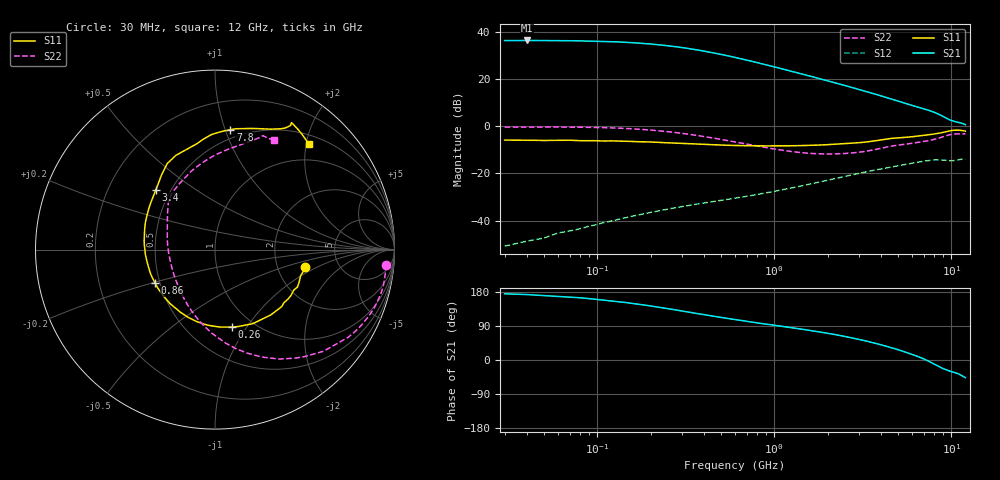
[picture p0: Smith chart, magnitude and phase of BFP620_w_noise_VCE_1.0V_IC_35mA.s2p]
! Infineon Technologies  Discrete & RF Semiconductors
! BFP620
! VCE =  1.0 V,  IC =  35 mA
! Common Emitter S-Parameters:  Nov 2015
# GHz  S  MA  R  50
!  f  S11  S21  S12  S22
! GHz  MAG  ANG  MAG  ANG  MAG  ANG  MAG  ANG
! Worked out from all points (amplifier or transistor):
!   239 points, 30 MHz to 12 GHz, reference 50 ohm
!   highest |S21| = 36.2 dB at 40 MHz (marker M1)
!   |S21| within 3 dB of that: start of sweep to 300.9 MHz
!   unconditionally stable (mu >= 1): 2.317 GHz to end of sweep
!   at 300 MHz: K = 0.39, MSG = 33.6 dB, |S12| = -34.0 dB
!   at 1.88 GHz: K = 0.97, MSG = 21.5 dB, |S12| = -23.3 dB
!   at 12 GHz: K = 1.08, MAG = 5.6 dB, |S12| = -14.0 dB
!   lowest NFmin = 1.24 dB at 450 MHz
!   S11 on the Smith chart (normalised r, x): 30 MHz: 2.86, -0.73; 260 MHz: 0.80, -0.86; 860 MHz: 0.47, -0.21; 3.4 GHz: 0.42, +0.36; 7.8 GHz: 0.43, +1.04; 12 GHz: 0.67, +2.06
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0.03  0.5084 -10.7  64.64 174.7  0.0029 92.5  0.9543 -5.0
0.04  0.5056 -14.4  64.92 172.7  0.0037 89.8  0.9582 -7.6
0.07  0.5046 -24.4  64.31 166.3  0.0061 82.9  0.9558 -15.1
0.085  0.4938 -29.2  63.37 163.1  0.0072 80.5  0.9475 -18.6
0.115  0.4867 -39.1  61.69 157.0  0.0095 77.1  0.9245 -25.6
0.145  0.4794 -48.1  59.35 151.6  0.0116 73.9  0.8942 -32.2
0.2  0.4633 -63.0  54.69 142.5  0.015 69.1  0.8286 -43.1
0.24  0.4479 -72.9  51.05 136.9  0.0171 66.5  0.778 -50.0
0.26  0.4421 -77.6  49.34 134.3  0.0181 65.4  0.7543 -53.2
0.3  0.4324 -86.5  46.03 129.3  0.0199 63.4  0.7077 -59.5
0.38  0.4163 -101.0  40.06 121.4  0.023 60.6  0.6232 -70.0
0.5  0.399 -118.5  32.87 112.1  0.027 58.4  0.5247 -83.5
0.6  0.3915 -129.8  28.4 106.5  0.03 57.5  0.464 -92.6
0.7  0.3865 -139.0  24.84 101.8  0.0329 57.1  0.416 -100.7
0.86  0.3823 -150.6  20.65 96.0  0.0376 56.8  0.3616 -111.9
1.14  0.3832 -165.7  15.83 87.9  0.046 56.1  0.3048 -128.6
1.64  0.3951 175.6  11.11 77.1  0.0611 53.6  0.2638 -152.9
2.4  0.4216 155.0  7.554 63.7  0.0835 47.4  0.2618 178.2
3.4  0.4687 134.6  5.248 48.7  0.1106 37.1  0.3009 152.1
4.5  0.5485 119.0  3.819 33.3  0.1354 25.8  0.3746 133.8
7.8  0.673 82.7  2.035 -8.0  0.1913 -9.0  0.5135 92.6
12  0.787 48.2  1.076 -46.6  0.2 -43.1  0.6926 61.6
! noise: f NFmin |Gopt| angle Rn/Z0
0.45  1.24  0.19  -162  0.1
0.9  1.25  0.22  -150  0.1
1.9  1.26  0.26  -138  0.11
2.4  1.28  0.26  -136  0.11
3.5  1.32  0.33  -101  0.18
5.5  1.6  0.36  -84  0.23
10  1.92  0.63  -45  0.98
